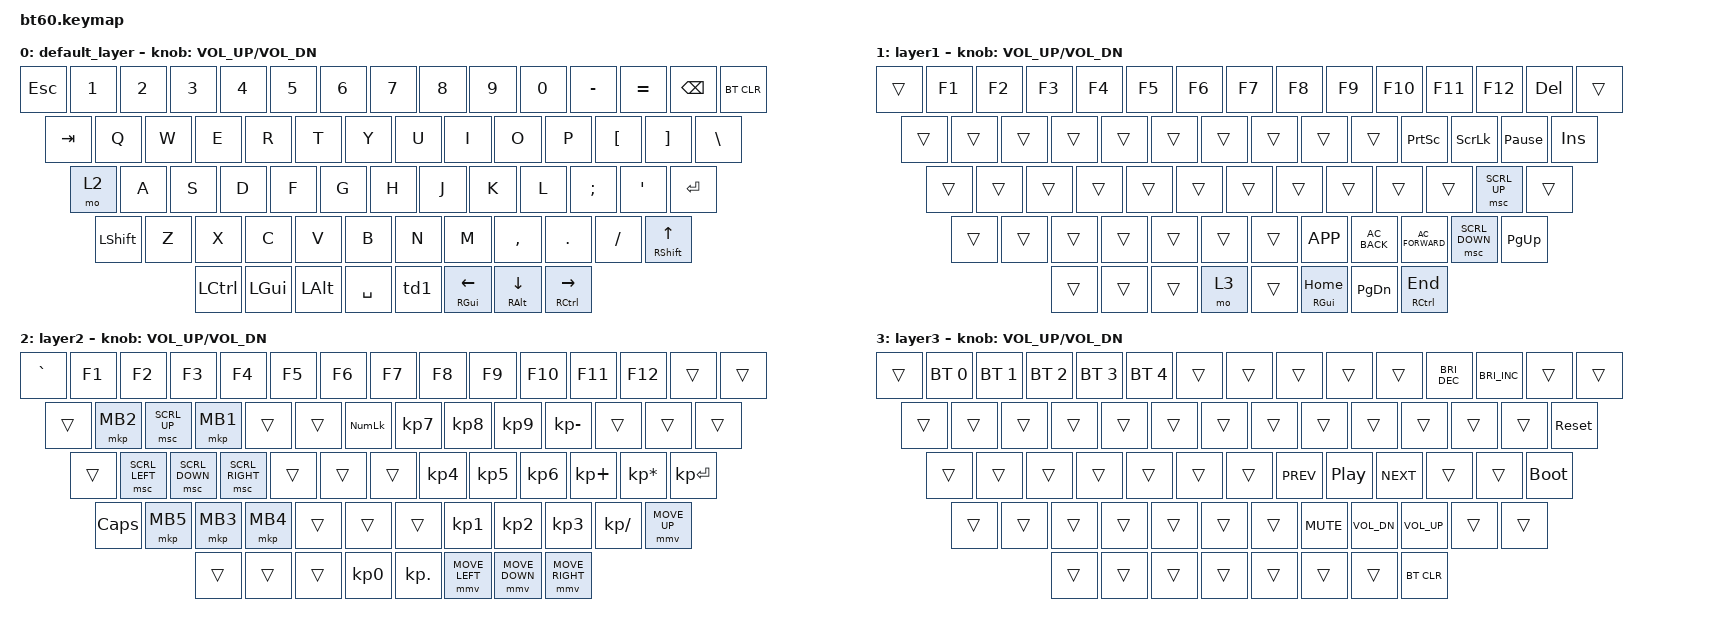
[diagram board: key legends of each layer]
#include <behaviors.dtsi>
#include <dt-bindings/zmk/keys.h>
#include <dt-bindings/zmk/bt.h>
#include <dt-bindings/zmk/mouse.h>

&lt {
	quick-tap-ms = <200>;
	flavor = "hold-preferred";
};

&mt {
	quick-tap-ms = <200>;
};

/ {
	behaviors {
		td1: tap_dance_1 {
			compatible = "zmk,behavior-tap-dance";
			label = "TAP_DANCE_1";
			#binding-cells = <0>;
			tapping-term-ms = <200>;
			bindings = <&mo 1>, <&tog 1>;
		};
	};

	keymap {
		compatible = "zmk,keymap";

		default_layer {
			// -------------------------------------------------------------------------------------------------------------------------
			// |  ESC  |   1   |   2   |   3   |   4   |   5   |   6   |   7   |   8   |   9   |   0   |   -   |   =   |      BKSP     | ?
			// |    TAB    |   Q   |   W   |   E   |   R   |   T   |   Y   |   U   |   I   |   O   |   P   |   [   |   ]   |     \     |
			// |     MO2     |   A   |   S   |   D   |   F   |   G   |   H   |   J   |   K   |   L   |   ;   |   '   |      ENTER      |
			// |      SHIFT      |   Z   |   X   |   C   |   V   |   B   |   N   |   M   |   ,   |   .   |   /   |       SHFT(UP)      |
			// |   CTL   |   WIN   |   ALT   |                      SPACE                      | MO1/TG1 | WIN(LT) |ALT(DOWN)| CTL(RT) |
			// -------------------------------------------------------------------------------------------------------------------------
			bindings = <
				&kp ESC &kp N1  &kp N2  &kp N3  &kp N4  &kp N5  &kp N6  &kp N7  &kp N8  &kp N9  &kp N0  &kp MINUS &kp EQUAL    &kp BSPC &bt BT_CLR
				&kp TAB     &kp Q   &kp W   &kp E   &kp R   &kp T   &kp Y   &kp U   &kp I   &kp O   &kp P   &kp LBKT &kp RBKT  &kp BSLH
				&mo 2         &kp A   &kp S   &kp D   &kp F   &kp G   &kp H   &kp J   &kp K   &kp L   &kp SEMI &kp SQT          &kp RET
				&kp LSHFT         &kp Z   &kp X   &kp C   &kp V   &kp B   &kp N   &kp M   &kp COMMA &kp DOT &kp FSLH       &mt RSHFT UP
				&kp LCTRL &kp LGUI  &kp LALT                      &kp SPACE                     &td1      &mt RGUI LEFT &mt RALT DOWN &mt RCTRL RIGHT
			>;
			sensor-bindings = <&inc_dec_kp C_VOL_UP C_VOL_DN>;
		};
		layer1 {
			// -------------------------------------------------------------------------------------------------------------------------
			// |       |   F1  |   F2  |   F3  |   F4  |   F5  |   F6  |   F7  |   F8  |   F9  |  F10  |  F11  |  F12  |      DEL      | ?
			// |           |       |       |       |       |       |       |       |       |       |  PSCN |  SLCK | PAUSE |    INS    |
			// |             |       |       |       |       |       |       |       |       |       |       |  MWUP |                 |
			// |                 |       |       |       |       |       |       |  MNU  |  BCK  |  FWD  |  MWDN |         PGUP        |
			// |         |         |         |                       MO3                       |         |WIN(HOME)|   PGDN  | CTL(END)|
			// -------------------------------------------------------------------------------------------------------------------------
			bindings = <
				&trans  &kp F1  &kp F2  &kp F3  &kp F4  &kp F5  &kp F6  &kp F7  &kp F8  &kp F9  &kp F10 &kp F11 &kp F12         &kp DEL &trans
				&trans      &trans  &trans  &trans  &trans  &trans  &trans  &trans  &trans  &trans  &kp PSCRN &kp SLCK &kp PAUSE_BREAK &kp INS
				&trans        &trans  &trans  &trans  &trans  &trans  &trans  &trans  &trans  &trans  &trans  &msc SCRL_UP       &trans
				&trans            &trans  &trans  &trans  &trans  &trans  &trans  &kp K_APP &kp C_AC_BACK &kp C_AC_FORWARD &msc SCRL_DOWN &kp PG_UP
				&trans    &trans    &trans                          &mo 3                       &trans    &mt RGUI HOME &kp PG_DN &mt RCTRL END
			>;
			sensor-bindings = <&inc_dec_kp C_VOL_UP C_VOL_DN>;
		};
		layer2 {
			// -------------------------------------------------------------------------------------------------------------------------
			// |   ~   |   F1  |   F2  |   F3  |   F4  |   F5  |   F6  |   F7  |   F8  |   F9  |  F10  |  F11  |  F12  |               | ?
			// |           |  MB2  |  MWUP |  MB1  |       |       |  NUM  |   7   |   8   |   9   |   -   |       |       |           |
			// |             |  MWLT |  MWDN |  MWRT |       |       |       |   4   |   5   |   6   |   +   |   *   |      ENTER      |
			// |       CAPS      |  MB5  |  MB3  |  MB4  |       |       |       |   1   |   2   |   3   |   /   |         MVUP        |
			// |         |         |         |                        0                        |    .    |   MVLT  |   MVDN  |   MVRT  |
			// -------------------------------------------------------------------------------------------------------------------------
			bindings = <
				&kp GRAVE &kp F1 &kp F2 &kp F3  &kp F4  &kp F5  &kp F6  &kp F7  &kp F8  &kp F9  &kp F10 &kp F11 &kp F12          &trans &trans
				&trans      &mkp MB2 &msc SCRL_UP &mkp MB1 &trans &trans &kp KP_NUM &kp KP_N7 &kp KP_N8 &kp KP_N9 &kp KP_MINUS &trans &trans &trans
				&trans        &msc SCRL_LEFT &msc SCRL_DOWN &msc SCRL_RIGHT &trans  &trans  &trans  &kp KP_N4 &kp KP_N5 &kp KP_N6 &kp KP_PLUS &kp KP_ASTERISK &kp KP_ENTER
				&kp CAPS          &mkp MB5 &mkp MB3 &mkp MB4 &trans &trans &trans &kp KP_N1 &kp KP_N2 &kp KP_N3 &kp KP_SLASH    &mmv MOVE_UP
				&trans    &trans    &trans                        &kp KP_N0                     &kp KP_DOT &mmv MOVE_LEFT &mmv MOVE_DOWN &mmv MOVE_RIGHT
			>;
			sensor-bindings = <&inc_dec_kp C_VOL_UP C_VOL_DN>;
		};
		layer3 {
			// -------------------------------------------------------------------------------------------------------------------------
			// |       |  BT1  |  BT2  |  BT3  |  BT4  |  BT5  |       |       |       |       |       |  BR-  |  BR+  |               | ?
			// |           |       |       |       |       |       |       |       |       |       |       |       |       |   reset   |
			// |             |       |       |       |       |       |       |  PRV  |  PLAY |  NXT  |       |       |      eeprom     |
			// |                 |       |       |       |       |       |       |  MUTE | VOLDN | VOLUP |       |                     |
			// |         |         |         |                                                 |         |         |         |  BTCLR  |
			// -------------------------------------------------------------------------------------------------------------------------
			bindings = <
				&trans  &bt BT_SEL 0 &bt BT_SEL 1 &bt BT_SEL 2 &bt BT_SEL 3 &bt BT_SEL 4 &trans &trans &trans &trans &trans &kp C_BRI_DEC &kp C_BRI_INC &trans &trans
				&trans      &trans  &trans  &trans  &trans  &trans  &trans  &trans  &trans  &trans  &trans  &trans  &trans       &sys_reset
				&trans        &trans  &trans  &trans  &trans  &trans  &trans  &kp C_PREV &kp C_PP &kp C_NEXT &trans &trans  &bootloader
				&trans            &trans  &trans  &trans  &trans  &trans  &trans  &kp C_MUTE &kp C_VOL_DN &kp C_VOL_UP &trans    &trans
				&trans    &trans    &trans                          &trans                      &trans    &trans    &trans   &bt BT_CLR
			>;
			sensor-bindings = <&inc_dec_kp C_VOL_UP C_VOL_DN>;
		};
	};
};
